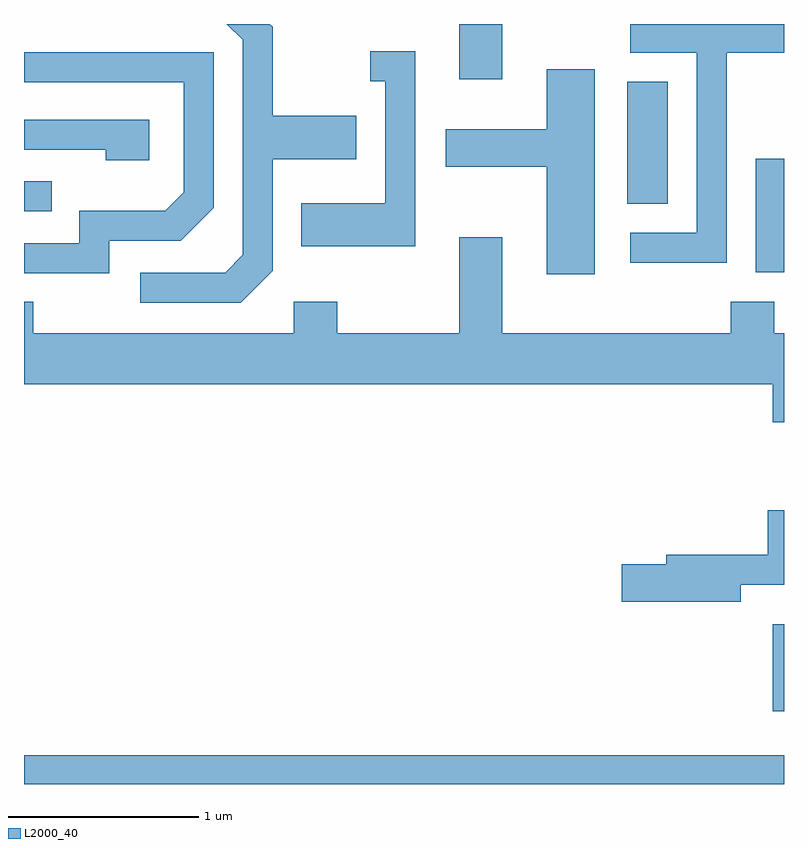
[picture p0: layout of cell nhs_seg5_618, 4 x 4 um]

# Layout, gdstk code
import gdstk
lib = gdstk.Library(unit=1e-6, precision=1e-09)
def R(c, l, rs):  # rectangles x0, y0, x1, y1
    for r in rs: c.add(gdstk.rectangle(r[:2], r[2:], *l))
def P(c, l, *ps):  # polygons
    for p in ps: c.add(gdstk.Polygon(p, *l))
L2000_40 = (2000, 40)

nhs_seg5_618 = lib.new_cell('nhs_seg5_618')
R(nhs_seg5_618, L2000_40, [(203.611,1408.072,207.611,1408.224), (207.551,1408.456,207.611,1408.914), (207.461,1410.766,207.611,1411.364), (203.611,1411.086,203.758,1411.244), (206.786,1411.126,206.999,1411.769), (205.901,1411.781,206.129,1412.072)])
P(nhs_seg5_618, L2000_40, [(207.309,1411.921),(207.611,1411.921),(207.611,1412.072),(206.803,1412.072),(206.803,1411.921),(207.151,1411.921),(207.151,1410.974),(206.803,1410.974),(206.803,1410.816),(207.309,1410.816)],
  [(204.919,1410.774),(204.919,1411.361),(205.359,1411.361),(205.359,1411.589),(204.919,1411.589),(204.919,1412.057),(204.904,1412.072),(204.678,1412.072),(204.761,1411.989),(204.761,1410.857),(204.669,1410.764),(204.223,1410.764),(204.223,1410.606),(204.752,1410.606)],
  [(205.669,1411.929),(205.433,1411.929),(205.433,1411.771),(205.511,1411.771),(205.511,1411.129),(205.071,1411.129),(205.071,1410.901),(205.669,1410.901)],
  [(204.059,1410.931),(204.437,1410.931),(204.609,1411.104),(204.609,1411.924),(203.611,1411.924),(203.611,1411.766),(204.451,1411.766),(204.451,1411.187),(204.354,1411.089),(203.901,1411.089),(203.901,1410.919),(203.611,1410.919),(203.611,1410.761),(204.059,1410.761)],
  [(206.614,1411.834),(206.361,1411.834),(206.361,1411.519),(205.831,1411.519),(205.831,1411.321),(206.361,1411.321),(206.361,1410.756),(206.614,1410.756)],
  [(204.269,1411.569),(203.611,1411.569),(203.611,1411.411),(204.041,1411.411),(204.041,1411.356),(204.269,1411.356)],
  [(207.611,1410.444),(207.559,1410.444),(207.559,1410.609),(207.331,1410.609),(207.331,1410.444),(206.129,1410.444),(206.129,1410.949),(205.901,1410.949),(205.901,1410.444),(205.259,1410.444),(205.259,1410.609),(205.031,1410.609),(205.031,1410.444),(203.659,1410.444),(203.659,1410.609),(203.611,1410.609),(203.611,1410.176),(207.551,1410.176),(207.551,1409.976),(207.611,1409.976)],
  [(207.384,1409.121),(207.611,1409.121),(207.611,1409.514),(207.526,1409.514),(207.526,1409.279),(206.991,1409.279),(206.991,1409.229),(206.756,1409.229),(206.756,1409.031),(207.384,1409.031)])

lib.write_gds('nhs_seg5_618.gds')
